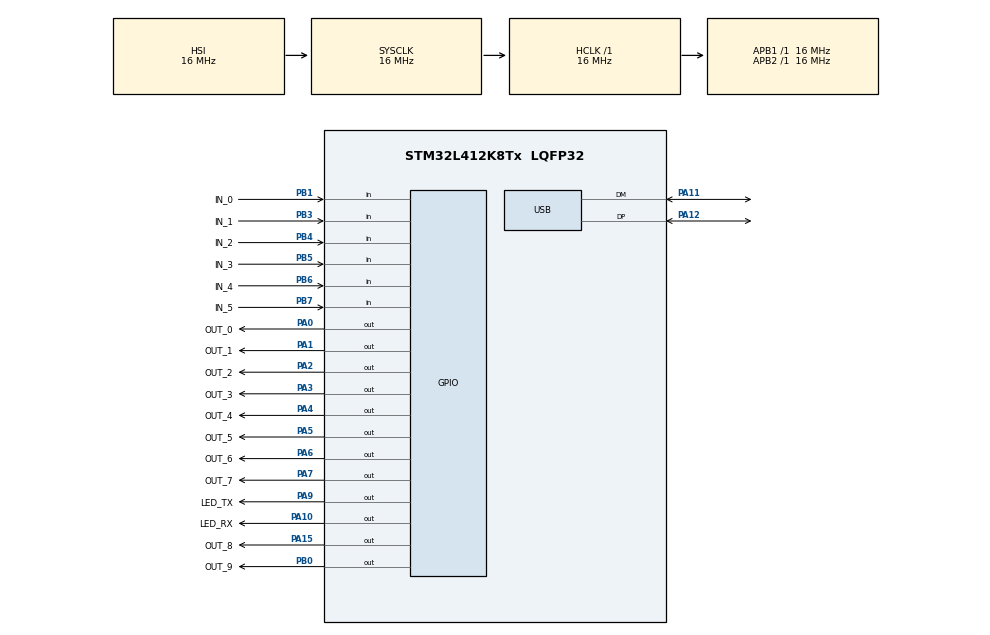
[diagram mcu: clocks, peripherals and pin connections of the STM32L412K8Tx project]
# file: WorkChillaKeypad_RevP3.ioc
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Mcu.Family=STM32L4
Mcu.Name=STM32L412K8Tx
Mcu.Package=LQFP32
NVIC.PriorityGroup=NVIC_PRIORITYGROUP_4
NVIC.USB_IRQn=true\:0\:0\:false\:false\:true\:false\:true
PA0-CK_IN.GPIO_Label=OUT_0
PA0-CK_IN.Signal=GPIO_Output
PA1.GPIO_Label=OUT_1
PA1.Signal=GPIO_Output
PA10.GPIO_Label=LED_RX
PA10.Signal=GPIO_Output
PA11.Mode=Device
PA11.Signal=USB_DM
PA12.Mode=Device
PA12.Signal=USB_DP
PA13\ (JTMS/SWDIO).Mode=Serial_Wire
PA13\ (JTMS/SWDIO).Signal=SYS_JTMS-SWDIO
PA14\ (JTCK/SWCLK).Mode=Serial_Wire
PA14\ (JTCK/SWCLK).Signal=SYS_JTCK-SWCLK
PA15\ (JTDI).GPIO_Label=OUT_8
PA15\ (JTDI).Signal=GPIO_Output
PA2.GPIO_Label=OUT_2
PA2.Signal=GPIO_Output
PA3.GPIO_Label=OUT_3
PA3.Signal=GPIO_Output
PA4.GPIO_Label=OUT_4
PA4.Signal=GPIO_Output
PA5.GPIO_Label=OUT_5
PA5.Signal=GPIO_Output
PA6.GPIO_Label=OUT_6
PA6.Signal=GPIO_Output
PA7.GPIO_Label=OUT_7
PA7.Signal=GPIO_Output
PA9.GPIO_Label=LED_TX
PA9.Signal=GPIO_Output
PB0.GPIO_Label=OUT_9
PB0.Signal=GPIO_Output
PB1.GPIO_Label=IN_0
PB1.Signal=GPIO_Input
PB3\ (JTDO/TRACESWO).GPIO_Label=IN_1
PB3\ (JTDO/TRACESWO).Signal=GPIO_Input
PB4\ (NJTRST).GPIO_Label=IN_2
PB4\ (NJTRST).Signal=GPIO_Input
PB5.GPIO_Label=IN_3
PB5.Signal=GPIO_Input
PB6.GPIO_Label=IN_4
PB6.Signal=GPIO_Input
PB7.GPIO_Label=IN_5
PB7.Signal=GPIO_Input
ProjectManager.HeapSize=0x200
ProjectManager.StackSize=0x400
ProjectManager.TargetToolchain=STM32CubeIDE
RCC.ADCFreq_Value=16000000
RCC.AHBFreq_Value=16000000
RCC.APB1Freq_Value=16000000
RCC.APB1TimFreq_Value=16000000
RCC.APB2Freq_Value=16000000
RCC.APB2TimFreq_Value=16000000
RCC.CK48CLockSelection=RCC_USBCLKSOURCE_HSI48
RCC.CortexFreq_Value=16000000
RCC.HCLKFreq_Value=16000000
RCC.HSE_VALUE=8000000
RCC.HSI48_VALUE=48000000
RCC.HSI_VALUE=16000000
RCC.LSE_VALUE=32768
RCC.MSIAutoCalibration=DISABLED
RCC.MSI_VALUE=4000000
RCC.SYSCLKFreq_VALUE=16000000
RCC.SYSCLKSource=RCC_SYSCLKSOURCE_HSI
RCC.USBFreq_Value=48000000
RCC.VCOOutputFreq_Value=32000000
TIM6.Period=65535
TIM6.Prescaler=2
USB_DEVICE.CLASS_NAME_FS=HID
USB_DEVICE.MANUFACTURER_STRING=Kuwaneun
USB_DEVICE.PRODUCT_STRING_HID_FS=Mju MMI
USB_DEVICE.VirtualMode=Hid
USB_DEVICE.VirtualModeFS=Hid_FS
VP_RCC_USB.Mode=CRS SYNC Source USB
VP_TIM6_VS_ClockSourceINT.Mode=Enable_Timer
VP_USB_DEVICE_VS_USB_DEVICE_HID_FS.Mode=HID_FS
board=custom

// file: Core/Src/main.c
/* USER CODE BEGIN Header */
/**
  ******************************************************************************
  * @file           : main.c
  * @brief          : Main program body
  ******************************************************************************
  * @attention
  *
  * <h2><center>&copy; Copyright (c) 2020 STMicroelectronics.
  * All rights reserved.</center></h2>
  *
  * This software component is licensed by ST under BSD 3-Clause license,
  * the "License"; You may not use this file except in compliance with the
  * License. You may obtain a copy of the License at:
  *                        opensource.org/licenses/BSD-3-Clause
  *
  ******************************************************************************
  */
/* USER CODE END Header */
#include "main.h"
#include "usb_device.h"

/* USER CODE BEGIN PD */

extern USBD_HandleTypeDef hUsbDeviceFS;

#define rowNum 6    // 行 IN 0 to 5
#define colNum 10   // 列 OUT 0 to 9

// 行 上から下へ.
const uint16_t rowPin[rowNum] =
{
        IN_0_Pin, IN_1_Pin, IN_2_Pin, IN_3_Pin, IN_4_Pin, IN_5_Pin
};
// 列 左から右へ.
const uint16_t colPin[colNum] =
{
        OUT_0_Pin, OUT_1_Pin, OUT_2_Pin, OUT_3_Pin, OUT_4_Pin, OUT_5_Pin, OUT_6_Pin, OUT_7_Pin, OUT_8_Pin, OUT_9_Pin
};

// モディファイアキー.
#define MOD_CTRL_L  0x01
#define MOD_SHIFT_L 0x02
#define MOD_ALT_L   0x04
#define MOD_META_L  0x08
#define MOD_CTRL_R  0x10
#define MOD_SHIFT_R 0x20
#define MOD_ALT_R   0x40
#define MOD_META_R  0x80

// 通常キー.
#define KEY_NULL    0x00    // Reserved (no event indicated)

#define KEY_A       0x04
#define KEY_B       0x05
#define KEY_C       0x06
#define KEY_D       0x07
#define KEY_E       0x08
#define KEY_F       0x09
#define KEY_G       0x0A
#define KEY_H       0x0B
#define KEY_I       0x0C
#define KEY_J       0x0D
#define KEY_K       0x0E
#define KEY_L       0x0F
#define KEY_M       0x10
#define KEY_N       0x11
#define KEY_O       0x12
#define KEY_P       0x13
#define KEY_Q       0x14
#define KEY_R       0x15
#define KEY_S       0x16
#define KEY_T       0x17
#define KEY_U       0x18
#define KEY_V       0x19
#define KEY_W       0x1A
#define KEY_X       0x1B
#define KEY_Y       0x1C
#define KEY_Z       0x1D

#define KEY_1       0x1E
#define KEY_2       0x1F
#define KEY_3       0x20
#define KEY_4       0x21
#define KEY_5       0x22
#define KEY_6       0x23
#define KEY_7       0x24
#define KEY_8       0x25
#define KEY_9       0x26
#define KEY_0       0x27

#define KEY_RETURN  0x28
#define KEY_ESCAPE  0x29
#define KEY_DELETE  0x2A
#define KEY_TAB     0x2B
#define KEY_SPACE   0x2C

#define KEY_MINUS       0x2D    // - _
#define KEY_EQUAL       0x2E    // = +
#define KEY_BRACKET_L   0x2F    // [ {
#define KEY_BRACKET_R   0x30    // ] }
#define KEY_BACKSLASH   0x31    // '\' |
#define KEY_NONUS       0x32
#define KEY_SEMICOLON   0x33    // ; :
#define KEY_QUOTATION   0x34    // ' "
#define KEY_GRAVE       0x35    // ` ~
#define KEY_LTHAN       0x36    // less than '<'
#define KEY_GTHAN       0x37    // greater than '>'
#define KEY_SLASH       0x38    // / ?
#define KEY_CAPS        0x39    // CapsLock

#define KEY_F1      0x3A
#define KEY_F2      0x3B
#define KEY_F3      0x3C
#define KEY_F4      0x3D
#define KEY_F5      0x3E
#define KEY_F6      0x3F
#define KEY_F7      0x40
#define KEY_F8      0x41
#define KEY_F9      0x42
#define KEY_F10     0x43
#define KEY_F11     0x44
#define KEY_F12     0x45

#define KEY_SYSRQ   0x46 // Keyboard Print Screen

#define KEY_PAGEUP      0x4B // Keyboard Page Up
#define KEY_PAGEDOWN    0x4E // Keyboard Page Down

#define KEY_RIGHT   0x4F
#define KEY_LEFT    0x50
#define KEY_DOWN    0x51
#define KEY_UP      0x52

#define KEY_COMPOSE 0x65 // Keyboard Application
#define KEY_MENU    0x76

#define KEY_ZENKAKUHANKAKU  0x94 // Keyboard LANG5

#define KEY_BACKSP  0xBB

// 通常キー 注意：ASCIIではない USB HID Usage Tables.pdf

/*
const uint8_t workmanKeyMap[rowNum][colNum] =
{
        { KEY_LEFT, KEY_DOWN, KEY_RIGHT, KEY_UP, KEY_NULL, KEY_ESCAPE, KEY_MENU, KEY_RETURN, KEY_DELETE, KEY_BACKSP },
        { KEY_1, KEY_2, KEY_3, KEY_4, KEY_5, KEY_6, KEY_7, KEY_8, KEY_9, KEY_0 },
        { KEY_Q, KEY_D, KEY_R, KEY_W, KEY_B, KEY_J, KEY_F, KEY_U, KEY_P, KEY_DELETE },
        { KEY_A, KEY_S, KEY_H, KEY_T, KEY_G, KEY_Y, KEY_N, KEY_E, KEY_O, KEY_I },
        { KEY_Z, KEY_X, KEY_M, KEY_C, KEY_V, KEY_K, KEY_L, KEY_LTHAN, KEY_GTHAN, KEY_RETURN },
        { MOD_SHIFT_L, KEY_TAB, MOD_ALT_L, MOD_CTRL_L, KEY_SPACE, KEY_SPACE, MOD_CTRL_R, MOD_ALT_R, KEY_ZENKAKUHANKAKU, MOD_SHIFT_R }
};
*/

const uint8_t qwertyKeyMap[rowNum][colNum] =
{
        { KEY_LEFT,     KEY_DOWN,   KEY_RIGHT,  KEY_UP,     KEY_SYSRQ,  KEY_ESCAPE, KEY_MENU,   KEY_RETURN, KEY_DELETE,         KEY_BACKSP      },

        { KEY_1,        KEY_2,      KEY_3,      KEY_4,      KEY_5,      KEY_6,      KEY_7,      KEY_8,      KEY_9,              KEY_0           },
        { KEY_Q,        KEY_W,      KEY_E,      KEY_R,      KEY_T,      KEY_Y,      KEY_U,      KEY_I,      KEY_O,              KEY_P           },
        { KEY_A,        KEY_S,      KEY_D,      KEY_F,      KEY_G,      KEY_H,      KEY_J,      KEY_K,      KEY_L,              KEY_SEMICOLON   },
        { KEY_Z,        KEY_X,      KEY_C,      KEY_V,      KEY_B,      KEY_N,      KEY_M,      KEY_LTHAN,  KEY_GTHAN,          KEY_SLASH       },

        { MOD_SHIFT_L,  KEY_TAB,    MOD_ALT_L,  MOD_CTRL_L, KEY_SPACE,  KEY_SPACE,  MOD_CTRL_R, MOD_ALT_R,  KEY_ZENKAKUHANKAKU, MOD_SHIFT_R     }
};

const uint8_t trrigerdKeyMap[rowNum][colNum] =
{
        { KEY_NULL,     KEY_PAGEDOWN,   KEY_NULL,       KEY_PAGEUP,     KEY_NULL,       KEY_NULL,   KEY_NULL,   KEY_NULL,   KEY_NULL,   KEY_NULL },

        { KEY_F1,       KEY_F2,         KEY_F3,         KEY_F4,         KEY_F5,         KEY_F6,     KEY_F7,     KEY_F8,     KEY_F9,     KEY_F10  },
        { KEY_GRAVE,    KEY_MINUS,      KEY_MINUS,      KEY_EQUAL,      KEY_EQUAL,      KEY_NULL,   KEY_NULL,   KEY_NULL,   KEY_NULL,   KEY_NULL },
        { KEY_GRAVE,    KEY_BRACKET_L,  KEY_BRACKET_L,  KEY_BRACKET_R,  KEY_BRACKET_R,  KEY_NULL,   KEY_NULL,   KEY_NULL,   KEY_NULL,   KEY_NULL },
        { KEY_NULL,     KEY_BACKSLASH,  KEY_BACKSLASH,  KEY_QUOTATION,  KEY_QUOTATION,  KEY_NULL,   KEY_NULL,   KEY_NULL,   KEY_NULL,   KEY_NULL },

        { KEY_NULL,     KEY_NULL,       KEY_NULL,       KEY_NULL,       KEY_NULL,       KEY_NULL,   KEY_NULL,   KEY_NULL,   KEY_NULL,   KEY_NULL }
};

const uint8_t trrigerdModMap[rowNum][colNum] =
{
        { KEY_NULL,     KEY_NULL,       KEY_NULL,       KEY_NULL,       KEY_NULL,       KEY_NULL,   KEY_NULL,   KEY_NULL,   KEY_NULL,   KEY_NULL },

        { KEY_NULL,     KEY_NULL,       KEY_NULL,       KEY_NULL,       KEY_NULL,       KEY_NULL,   KEY_NULL,   KEY_NULL,   KEY_NULL,   KEY_NULL },
        { KEY_NULL,     KEY_NULL,       MOD_SHIFT_L,    KEY_NULL,       MOD_SHIFT_L,    KEY_NULL,   KEY_NULL,   KEY_NULL,   KEY_NULL,   KEY_NULL },
        { MOD_SHIFT_L,  KEY_NULL,       MOD_SHIFT_L,    KEY_NULL,       MOD_SHIFT_L,    KEY_NULL,   KEY_NULL,   KEY_NULL,   KEY_NULL,   KEY_NULL },
        { KEY_NULL,     KEY_NULL,       MOD_SHIFT_L,    KEY_NULL,       MOD_SHIFT_L,    KEY_NULL,   KEY_NULL,   KEY_NULL,   KEY_NULL,   KEY_NULL },

        { KEY_NULL,     KEY_NULL,       KEY_NULL,       KEY_NULL,       KEY_NULL,       KEY_NULL,   KEY_NULL,   KEY_NULL,   KEY_NULL,   KEY_NULL }
};

// キーの状態
uint8_t keyState[rowNum][colNum];

// 電気的な状態（回路 に 1:High がデフォルト
uint8_t currentState[rowNum][colNum];   // センシング結果 1度目
uint8_t temporaryState[rowNum][colNum]; // センシング結果 2度目
uint8_t beforeState[rowNum][colNum];    // 前回のセンシング結果

// キーレイアウトフラグ
uint8_t keyboardLayoutFlag = 0b00000000;    // 0 == qwerty

// テキトーディレイ
void delay_us(uint32_t i) {
    while (i > 0) {
        asm("NOP"); asm("NOP"); asm("NOP"); asm("NOP"); asm("NOP");
        asm("NOP"); asm("NOP"); asm("NOP"); asm("NOP"); asm("NOP");
        asm("NOP"); asm("NOP"); asm("NOP"); asm("NOP"); asm("NOP");
        asm("NOP"); asm("NOP"); asm("NOP"); asm("NOP"); asm("NOP");
        asm("NOP"); asm("NOP"); asm("NOP"); asm("NOP"); asm("NOP");
        asm("NOP"); asm("NOP"); asm("NOP"); asm("NOP"); asm("NOP");
        asm("NOP"); asm("NOP"); asm("NOP"); asm("NOP"); asm("NOP");
        asm("NOP"); asm("NOP"); asm("NOP"); asm("NOP"); asm("NOP");
        asm("NOP"); asm("NOP"); asm("NOP"); asm("NOP"); asm("NOP");
        asm("NOP"); asm("NOP"); asm("NOP"); asm("NOP"); asm("NOP");
        asm("NOP"); asm("NOP"); asm("NOP"); asm("NOP"); asm("NOP");
        asm("NOP"); asm("NOP"); asm("NOP"); asm("NOP"); asm("NOP");
        asm("NOP"); asm("NOP"); asm("NOP"); asm("NOP"); asm("NOP");
        asm("NOP"); asm("NOP"); asm("NOP"); asm("NOP"); asm("NOP");
        asm("NOP"); asm("NOP"); asm("NOP"); asm("NOP"); asm("NOP");
        asm("NOP"); asm("NOP"); asm("NOP"); asm("NOP"); asm("NOP");
        asm("NOP"); asm("NOP"); asm("NOP"); asm("NOP"); asm("NOP");
        asm("NOP"); asm("NOP"); asm("NOP"); asm("NOP"); asm("NOP");
        asm("NOP"); asm("NOP"); asm("NOP"); asm("NOP"); asm("NOP");
        asm("NOP"); asm("NOP"); asm("NOP"); asm("NOP"); asm("NOP");
        i--;
    }
}

/* USER CODE END PD */

TIM_HandleTypeDef htim6;

void SystemClock_Config(void);
static void MX_GPIO_Init(void);
static void MX_TIM6_Init(void);

int main(void)
{

  /* MCU Configuration--------------------------------------------------------*/

  /* Reset of all peripherals, Initializes the Flash interface and the Systick. */
  HAL_Init();

  /* Configure the system clock */
  SystemClock_Config();

  /* Initialize all configured peripherals */
  MX_GPIO_Init();
  MX_TIM6_Init();
  MX_USB_DEVICE_Init();
  /* USER CODE BEGIN 2 */

  // USB-HID
  // - - - - - - - - - - - - - - - - - - - - - - - -
  struct keyboardHID_t
  {
      // このサイズは必須らしい?
      uint8_t id;
      uint8_t modifires;
      uint8_t key1;
      uint8_t key2;
      uint8_t key3;
  };

  struct keyboardHID_t keyboardHID = { 1, 0, 0, 0, 0 };

  // Setup
  // - - - - - - - - - - - - - - - - - - - - - - - -
  uint32_t i = 0;
  uint32_t j = 0;

  // row はインプット。通常HIGH／スイッチ押下でLOW、が想定される

  // col をデフォルトHighに
  for (i = 0; i < (colNum-1); i++) {
      HAL_GPIO_WritePin(GPIOA, colPin[i], 1);
  }
  // REV.P4はGPIOをまたいでるんだった….
  HAL_GPIO_WritePin(GPIOB, OUT_9_Pin, 1);

  // バッファに初期状態を入力
  for (i = 0; i < rowNum; i++) {
      for (j = 0; j < colNum; j++) {
          keyState[i][j] = 0;
          currentState[i][j] = 1;
          beforeState[i][j] = 1;
      }
  }

  /* USER CODE END 2 */

  /* Infinite loop */
  /* USER CODE BEGIN WHILE */
  while (1)
  {
      HAL_GPIO_WritePin (LED_TX_GPIO_Port, LED_TX_Pin, GPIO_PIN_RESET);

      // 電気的走査
      // - - - - - - - - - - -
      // 行を回す
      for (i = 0; i < rowNum; i++) {
          // カラムを回す
          for (j = 0; j < colNum; j++) {
              if(j < (colNum-1)){
                  HAL_GPIO_WritePin(GPIOA, colPin[j], 0); // Lowでチェック.
              }else{
                  HAL_GPIO_WritePin(GPIOB, OUT_9_Pin, 0); // Lowでチェック.
              }

              delay_us(1);
              // row[i]の値をバッファに格納.
              currentState[i][j] = HAL_GPIO_ReadPin(GPIOB, rowPin[i]);
              // チャタリング防止.
              delay_us(1);
              // 再度チェック.
              if (currentState[i][j] == HAL_GPIO_ReadPin(GPIOB, rowPin[i])) {
                  // かつ前回と変化があったかどうか.
                  if (currentState[i][j] != beforeState[i][j]) {
                      // 押した or 放した.
                      keyState[i][j] = 1 - currentState[i][j]; // 分かりやすさのために反転させて保存.
                      // 格納.
                      beforeState[i][j] = currentState[i][j];
                      HAL_GPIO_TogglePin(LED_TX_GPIO_Port, LED_TX_Pin); // Lチカデバッグ.
                  }
              }
              // デフォルトHighに戻す.
              if(j < (colNum-1)){
                  HAL_GPIO_WritePin(GPIOA, colPin[j], 1);
              }else{
                  HAL_GPIO_WritePin(GPIOB, OUT_9_Pin, 1);
              }
          }
      }

      // データ走査.
      // 一旦初期化.
      keyboardHID.modifires = 0x00;
      keyboardHID.key1 = 0x00;

      // データの走査開始.
      for (i = 0; i < rowNum; i++) {
          for (j = 0; j < colNum; j++) {
              if (keyState[i][j] == 1) {
                  // アクティブなキー.
                  if (i == 5) {
                      // 最下列が押下された.
                      if (j == 0 || j == 2 || j == 3 || j == 6 || j == 7 || j ==9) {
                          // 0, 2, 3, 6, (7), 9, がモディファイアキー
                          keyboardHID.modifires = qwertyKeyMap[i][j]; // モディファイアキー押下.
                      }else if(j == 8){
                          // 独自「装飾」キー
                          keyboardLayoutFlag = 1;
                      }else {
                          keyboardHID.key1 = qwertyKeyMap[i][j]; // 通常キー押下.
                      }
                  } else {
                      if (keyboardLayoutFlag == 0){
                          keyboardHID.key1 = qwertyKeyMap[i][j]; // 通常キー押下.
                      }else{
                          // 独自「装飾」キーが押されている.
                          keyboardHID.modifires = trrigerdModMap[i][j]; // モディファイアキー押下.
                          keyboardHID.key1 = trrigerdKeyMap[i][j]; // 通常キー押下.
                          keyboardLayoutFlag = 0;
                      }
                  }
              }
          }
      }

      // 結果の送信(モディファイアとの関連性があるので、全体を検索したのちに送信すべき）←？.
      USBD_HID_SendReport(&hUsbDeviceFS, &keyboardHID, sizeof(struct keyboardHID_t));
      delay_us(10);

    /* USER CODE END WHILE */

  }
}

void SystemClock_Config(void)
{
  RCC_OscInitTypeDef RCC_OscInitStruct = {0};
  RCC_ClkInitTypeDef RCC_ClkInitStruct = {0};
  RCC_PeriphCLKInitTypeDef PeriphClkInit = {0};
  RCC_CRSInitTypeDef RCC_CRSInitStruct = {0};

  /** Configure the main internal regulator output voltage
  */
  if (HAL_PWREx_ControlVoltageScaling(PWR_REGULATOR_VOLTAGE_SCALE1) != HAL_OK)
  {
    Error_Handler();
  }
  /** Initializes the RCC Oscillators according to the specified parameters
  * in the RCC_OscInitTypeDef structure.
  */
  RCC_OscInitStruct.OscillatorType = RCC_OSCILLATORTYPE_HSI48|RCC_OSCILLATORTYPE_HSI;
  RCC_OscInitStruct.HSIState = RCC_HSI_ON;
  RCC_OscInitStruct.HSI48State = RCC_HSI48_ON;
  RCC_OscInitStruct.HSICalibrationValue = RCC_HSICALIBRATION_DEFAULT;
  RCC_OscInitStruct.PLL.PLLState = RCC_PLL_NONE;
  if (HAL_RCC_OscConfig(&RCC_OscInitStruct) != HAL_OK)
  {
    Error_Handler();
  }
  /** Initializes the CPU, AHB and APB buses clocks
  */
  RCC_ClkInitStruct.ClockType = RCC_CLOCKTYPE_HCLK|RCC_CLOCKTYPE_SYSCLK
                              |RCC_CLOCKTYPE_PCLK1|RCC_CLOCKTYPE_PCLK2;
  RCC_ClkInitStruct.SYSCLKSource = RCC_SYSCLKSOURCE_HSI;
  RCC_ClkInitStruct.AHBCLKDivider = RCC_SYSCLK_DIV1;
  RCC_ClkInitStruct.APB1CLKDivider = RCC_HCLK_DIV1;
  RCC_ClkInitStruct.APB2CLKDivider = RCC_HCLK_DIV1;

  if (HAL_RCC_ClockConfig(&RCC_ClkInitStruct, FLASH_LATENCY_0) != HAL_OK)
  {
    Error_Handler();
  }
  PeriphClkInit.PeriphClockSelection = RCC_PERIPHCLK_USB;
  PeriphClkInit.UsbClockSelection = RCC_USBCLKSOURCE_HSI48;
  if (HAL_RCCEx_PeriphCLKConfig(&PeriphClkInit) != HAL_OK)
  {
    Error_Handler();
  }
  /** Enable the SYSCFG APB clock
  */
  __HAL_RCC_CRS_CLK_ENABLE();
  /** Configures CRS
  */
  RCC_CRSInitStruct.Prescaler = RCC_CRS_SYNC_DIV1;
  RCC_CRSInitStruct.Source = RCC_CRS_SYNC_SOURCE_USB;
  RCC_CRSInitStruct.Polarity = RCC_CRS_SYNC_POLARITY_RISING;
  RCC_CRSInitStruct.ReloadValue = __HAL_RCC_CRS_RELOADVALUE_CALCULATE(48000000,1000);
  RCC_CRSInitStruct.ErrorLimitValue = 34;
  RCC_CRSInitStruct.HSI48CalibrationValue = 32;

  HAL_RCCEx_CRSConfig(&RCC_CRSInitStruct);
}

static void MX_TIM6_Init(void)
{

  TIM_MasterConfigTypeDef sMasterConfig = {0};

  htim6.Instance = TIM6;
  htim6.Init.Prescaler = 2;
  htim6.Init.CounterMode = TIM_COUNTERMODE_UP;
  htim6.Init.Period = 65535;
  htim6.Init.AutoReloadPreload = TIM_AUTORELOAD_PRELOAD_DISABLE;
  if (HAL_TIM_Base_Init(&htim6) != HAL_OK)
  {
    Error_Handler();
  }
  sMasterConfig.MasterOutputTrigger = TIM_TRGO_RESET;
  sMasterConfig.MasterSlaveMode = TIM_MASTERSLAVEMODE_DISABLE;
  if (HAL_TIMEx_MasterConfigSynchronization(&htim6, &sMasterConfig) != HAL_OK)
  {
    Error_Handler();
  }

}

static void MX_GPIO_Init(void)
{
  GPIO_InitTypeDef GPIO_InitStruct = {0};

  /* GPIO Ports Clock Enable */
  __HAL_RCC_GPIOA_CLK_ENABLE();
  __HAL_RCC_GPIOB_CLK_ENABLE();

  /*Configure GPIO pin Output Level */
  HAL_GPIO_WritePin(GPIOA, OUT_0_Pin|OUT_1_Pin|OUT_2_Pin|OUT_3_Pin
                          |OUT_4_Pin|OUT_5_Pin|OUT_6_Pin|OUT_7_Pin
                          |LED_TX_Pin|LED_RX_Pin|OUT_8_Pin, GPIO_PIN_RESET);

  /*Configure GPIO pin Output Level */
  HAL_GPIO_WritePin(OUT_9_GPIO_Port, OUT_9_Pin, GPIO_PIN_RESET);

  /*Configure GPIO pins : OUT_0_Pin OUT_1_Pin OUT_2_Pin OUT_3_Pin
                           OUT_4_Pin OUT_5_Pin OUT_6_Pin OUT_7_Pin
                           LED_TX_Pin LED_RX_Pin OUT_8_Pin */
  GPIO_InitStruct.Pin = OUT_0_Pin|OUT_1_Pin|OUT_2_Pin|OUT_3_Pin
                          |OUT_4_Pin|OUT_5_Pin|OUT_6_Pin|OUT_7_Pin
                          |LED_TX_Pin|LED_RX_Pin|OUT_8_Pin;
  GPIO_InitStruct.Mode = GPIO_MODE_OUTPUT_PP;
  GPIO_InitStruct.Pull = GPIO_NOPULL;
  GPIO_InitStruct.Speed = GPIO_SPEED_FREQ_LOW;
  HAL_GPIO_Init(GPIOA, &GPIO_InitStruct);

  /*Configure GPIO pin : OUT_9_Pin */
  GPIO_InitStruct.Pin = OUT_9_Pin;
  GPIO_InitStruct.Mode = GPIO_MODE_OUTPUT_PP;
  GPIO_InitStruct.Pull = GPIO_NOPULL;
  GPIO_InitStruct.Speed = GPIO_SPEED_FREQ_LOW;
  HAL_GPIO_Init(OUT_9_GPIO_Port, &GPIO_InitStruct);

  /*Configure GPIO pins : IN_0_Pin IN_1_Pin IN_2_Pin IN_3_Pin
                           IN_4_Pin IN_5_Pin */
  GPIO_InitStruct.Pin = IN_0_Pin|IN_1_Pin|IN_2_Pin|IN_3_Pin
                          |IN_4_Pin|IN_5_Pin;
  GPIO_InitStruct.Mode = GPIO_MODE_INPUT;
  GPIO_InitStruct.Pull = GPIO_NOPULL;
  HAL_GPIO_Init(GPIOB, &GPIO_InitStruct);

}

void Error_Handler(void)
{
}

/************************ (C) COPYRIGHT STMicroelectronics *****END OF FILE****/
